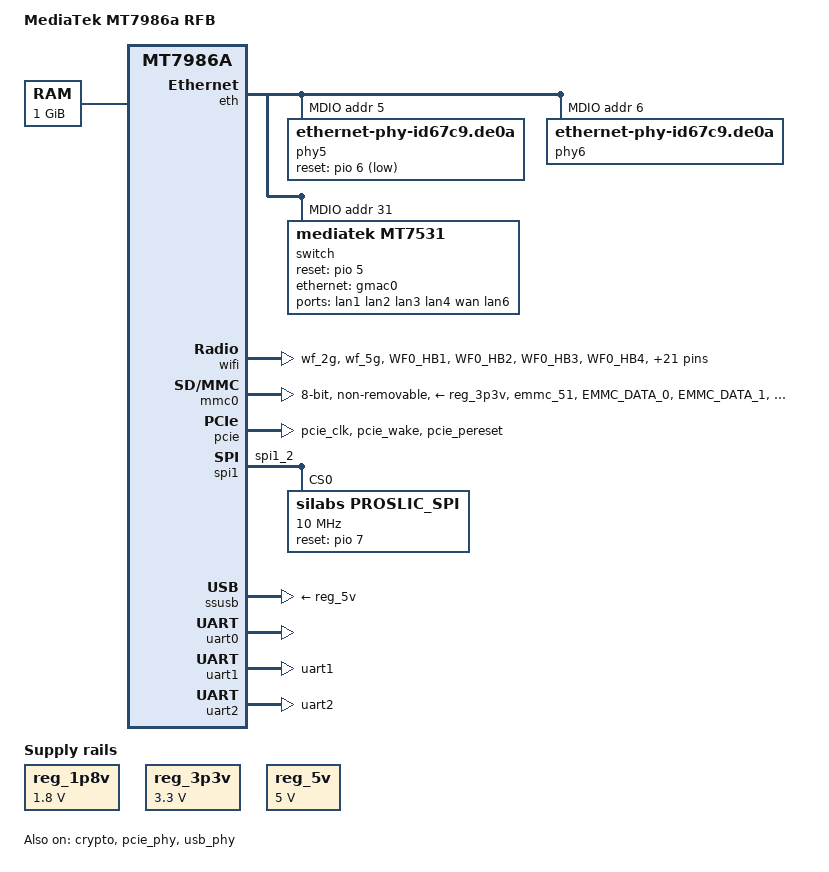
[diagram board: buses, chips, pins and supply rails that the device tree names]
// SPDX-License-Identifier: (GPL-2.0 OR MIT)
/*
 * Copyright (C) 2021 MediaTek Inc.
 * Author: Sam.Shih <sam.shih@mediatek.com>
 */

/dts-v1/;
#include "mt7986a.dtsi"

/ {
	model = "MediaTek MT7986a RFB";
	compatible = "mediatek,mt7986a-rfb";

	aliases {
		serial0 = &uart0;
	};

	chosen {
		stdout-path = "serial0:115200n8";
	};

	memory {
		reg = <0 0x40000000 0 0x40000000>;
	};

	reg_1p8v: regulator-1p8v {
		compatible = "regulator-fixed";
		regulator-name = "fixed-1.8V";
		regulator-min-microvolt = <1800000>;
		regulator-max-microvolt = <1800000>;
		regulator-boot-on;
		regulator-always-on;
	};

	reg_3p3v: regulator-3p3v {
		compatible = "regulator-fixed";
		regulator-name = "fixed-3.3V";
		regulator-min-microvolt = <3300000>;
		regulator-max-microvolt = <3300000>;
		regulator-boot-on;
		regulator-always-on;
	};

	reg_5v: regulator-5v {
		compatible = "regulator-fixed";
		regulator-name = "fixed-5V";
		regulator-min-microvolt = <5000000>;
		regulator-max-microvolt = <5000000>;
		regulator-boot-on;
		regulator-always-on;
	};
};

&eth {
	status = "okay";

	gmac0: mac@0 {
		compatible = "mediatek,eth-mac";
		reg = <0>;
		phy-mode = "2500base-x";

		fixed-link {
			speed = <2500>;
			full-duplex;
			pause;
		};
	};

	gmac1: mac@1 {
		compatible = "mediatek,eth-mac";
		reg = <1>;
		phy-mode = "2500base-x";
	};

	mdio: mdio-bus {
		#address-cells = <1>;
		#size-cells = <0>;
	};
};

&wifi {
	status = "okay";
	pinctrl-names = "default", "dbdc";
	pinctrl-0 = <&wf_2g_5g_pins>;
	pinctrl-1 = <&wf_dbdc_pins>;
};

&mdio {
	phy5: phy@5 {
		compatible = "ethernet-phy-id67c9.de0a";
		reg = <5>;

		reset-gpios = <&pio 6 1>;
		reset-deassert-us = <20000>;
	};

	phy6: phy@6 {
		compatible = "ethernet-phy-id67c9.de0a";
		reg = <6>;
	};

	switch: switch@1f {
		compatible = "mediatek,mt7531";
		reg = <31>;
		reset-gpios = <&pio 5 0>;
	};
};

&crypto {
	status = "okay";
};

&mmc0 {
	pinctrl-names = "default", "state_uhs";
	pinctrl-0 = <&mmc0_pins_default>;
	pinctrl-1 = <&mmc0_pins_uhs>;
	bus-width = <8>;
	max-frequency = <200000000>;
	cap-mmc-highspeed;
	mmc-hs200-1_8v;
	mmc-hs400-1_8v;
	hs400-ds-delay = <0x14014>;
	vmmc-supply = <&reg_3p3v>;
	vqmmc-supply = <&reg_1p8v>;
	non-removable;
	no-sd;
	no-sdio;
	status = "okay";
};

&pcie {
	pinctrl-names = "default";
	pinctrl-0 = <&pcie_pins>;
	status = "okay";
};

&pcie_phy {
	status = "okay";
};

&pio {
	mmc0_pins_default: mmc0-pins {
		mux {
			function = "emmc";
			groups = "emmc_51";
		};
		conf-cmd-dat {
			pins = "EMMC_DATA_0", "EMMC_DATA_1", "EMMC_DATA_2",
			       "EMMC_DATA_3", "EMMC_DATA_4", "EMMC_DATA_5",
			       "EMMC_DATA_6", "EMMC_DATA_7", "EMMC_CMD";
			input-enable;
			drive-strength = <4>;
			mediatek,pull-up-adv = <1>;	/* pull-up 10K */
		};
		conf-clk {
			pins = "EMMC_CK";
			drive-strength = <6>;
			mediatek,pull-down-adv = <2>;	/* pull-down 50K */
		};
		conf-ds {
			pins = "EMMC_DSL";
			mediatek,pull-down-adv = <2>;	/* pull-down 50K */
		};
		conf-rst {
			pins = "EMMC_RSTB";
			drive-strength = <4>;
			mediatek,pull-up-adv = <1>;	/* pull-up 10K */
		};
	};

	mmc0_pins_uhs: mmc0-uhs-pins {
		mux {
			function = "emmc";
			groups = "emmc_51";
		};
		conf-cmd-dat {
			pins = "EMMC_DATA_0", "EMMC_DATA_1", "EMMC_DATA_2",
			       "EMMC_DATA_3", "EMMC_DATA_4", "EMMC_DATA_5",
			       "EMMC_DATA_6", "EMMC_DATA_7", "EMMC_CMD";
			input-enable;
			drive-strength = <4>;
			mediatek,pull-up-adv = <1>;	/* pull-up 10K */
		};
		conf-clk {
			pins = "EMMC_CK";
			drive-strength = <6>;
			mediatek,pull-down-adv = <2>;	/* pull-down 50K */
		};
		conf-ds {
			pins = "EMMC_DSL";
			mediatek,pull-down-adv = <2>;	/* pull-down 50K */
		};
		conf-rst {
			pins = "EMMC_RSTB";
			drive-strength = <4>;
			mediatek,pull-up-adv = <1>;	/* pull-up 10K */
		};
	};

	pcie_pins: pcie-pins {
		mux {
			function = "pcie";
			groups = "pcie_clk", "pcie_wake", "pcie_pereset";
		};
	};

	spic_pins_g2: spic-pins-29-to-32 {
		mux {
			function = "spi";
			groups = "spi1_2";
		};
	};

	spi_flash_pins: spi-flash-pins-33-to-38 {
		mux {
			function = "spi";
			groups = "spi0", "spi0_wp_hold";
		};
		conf-pu {
			pins = "SPI2_CS", "SPI2_HOLD", "SPI2_WP";
			drive-strength = <8>;
			mediatek,pull-up-adv = <0>;	/* bias-disable */
		};
		conf-pd {
			pins = "SPI2_CLK", "SPI2_MOSI", "SPI2_MISO";
			drive-strength = <8>;
			mediatek,pull-down-adv = <0>;	/* bias-disable */
		};
	};

	uart1_pins: uart1-pins {
		mux {
			function = "uart";
			groups = "uart1";
		};
	};

	uart2_pins: uart2-pins {
		mux {
			function = "uart";
			groups = "uart2";
		};
	};

	wf_2g_5g_pins: wf_2g_5g-pins {
		mux {
			function = "wifi";
			groups = "wf_2g", "wf_5g";
		};
		conf {
			pins = "WF0_HB1", "WF0_HB2", "WF0_HB3", "WF0_HB4",
			       "WF0_HB0", "WF0_HB0_B", "WF0_HB5", "WF0_HB6",
			       "WF0_HB7", "WF0_HB8", "WF0_HB9", "WF0_HB10",
			       "WF0_TOP_CLK", "WF0_TOP_DATA", "WF1_HB1",
			       "WF1_HB2", "WF1_HB3", "WF1_HB4", "WF1_HB0",
			       "WF1_HB5", "WF1_HB6", "WF1_HB7", "WF1_HB8",
			       "WF1_TOP_CLK", "WF1_TOP_DATA";
			drive-strength = <4>;
		};
	};

	wf_dbdc_pins: wf_dbdc-pins {
		mux {
			function = "wifi";
			groups = "wf_dbdc";
		};
		conf {
			pins = "WF0_HB1", "WF0_HB2", "WF0_HB3", "WF0_HB4",
			       "WF0_HB0", "WF0_HB0_B", "WF0_HB5", "WF0_HB6",
			       "WF0_HB7", "WF0_HB8", "WF0_HB9", "WF0_HB10",
			       "WF0_TOP_CLK", "WF0_TOP_DATA", "WF1_HB1",
			       "WF1_HB2", "WF1_HB3", "WF1_HB4", "WF1_HB0",
			       "WF1_HB5", "WF1_HB6", "WF1_HB7", "WF1_HB8",
			       "WF1_TOP_CLK", "WF1_TOP_DATA";
			drive-strength = <4>;
		};
	};
};

&spi0 {
	pinctrl-names = "default";
	pinctrl-0 = <&spi_flash_pins>;
	cs-gpios = <0>, <0>;
	#address-cells = <1>;
	#size-cells = <0>;
	status = "disabled";
};

&spi1 {
	pinctrl-names = "default";
	pinctrl-0 = <&spic_pins_g2>;
	status = "okay";

	proslic_spi: proslic_spi@0 {
		compatible = "silabs,proslic_spi";
		reg = <0>;
		spi-max-frequency = <10000000>;
		spi-cpha = <1>;
		spi-cpol = <1>;
		channel_count = <1>;
		debug_level = <4>;       /* 1 = TRC, 2 = DBG, 4 = ERR */
		reset_gpio = <&pio 7 0>;
		ig,enable-spi = <1>;     /* 1: Enable, 0: Disable */
	};
};

&gmac1 {
	phy-mode = "2500base-x";
	phy-connection-type = "2500base-x";
	phy-handle = <&phy6>;
};

&switch {
	ports {
		#address-cells = <1>;
		#size-cells = <0>;

		port@0 {
			reg = <0>;
			label = "lan1";
		};

		port@1 {
			reg = <1>;
			label = "lan2";
		};

		port@2 {
			reg = <2>;
			label = "lan3";
		};

		port@3 {
			reg = <3>;
			label = "lan4";
		};

		port@4 {
			reg = <4>;
			label = "wan";
		};

		port@5 {
			reg = <5>;
			label = "lan6";

			phy-mode = "2500base-x";
			phy-handle = <&phy5>;
		};

		port@6 {
			reg = <6>;
			ethernet = <&gmac0>;
			phy-mode = "2500base-x";

			fixed-link {
				speed = <2500>;
				full-duplex;
				pause;
			};
		};
	};
};

&ssusb {
	vusb33-supply = <&reg_3p3v>;
	vbus-supply = <&reg_5v>;
	status = "okay";
};

&uart0 {
	status = "okay";
};

&uart1 {
	pinctrl-names = "default";
	pinctrl-0 = <&uart1_pins>;
	status = "okay";
};

&uart2 {
	pinctrl-names = "default";
	pinctrl-0 = <&uart2_pins>;
	status = "okay";
};

&usb_phy {
	status = "okay";
};
